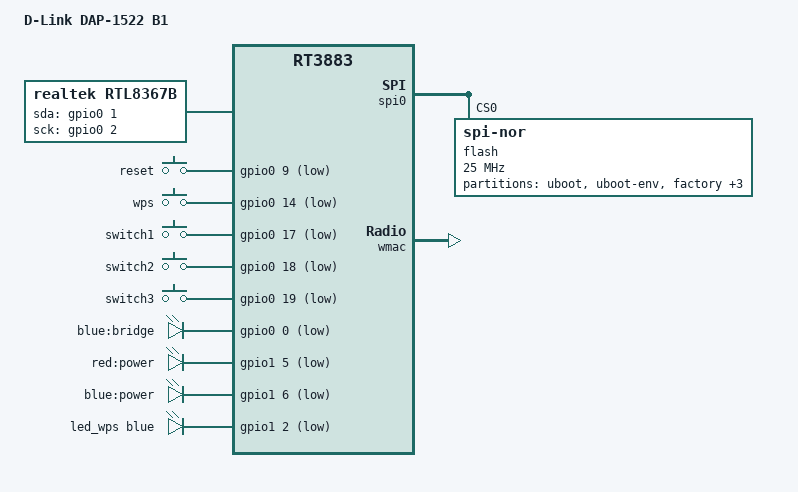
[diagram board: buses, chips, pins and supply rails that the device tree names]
#include "rt3883.dtsi"

#include <dt-bindings/gpio/gpio.h>
#include <dt-bindings/input/input.h>
#include <dt-bindings/leds/common.h>

/ {
	compatible = "dlink,dap-1522-b1", "ralink,rt3662-soc", "ralink,rt3883-soc";
	model = "D-Link DAP-1522 B1";

	aliases {
		led-boot = &led_wps;
		led-failsafe = &led_wps;
		led-running = &led_wps;
		led-upgrade = &led_wps;
	};

	rtl8367b {
		compatible = "realtek,rtl8367b";
		gpio-sda = <&gpio0 1 GPIO_ACTIVE_HIGH>;
		gpio-sck = <&gpio0 2 GPIO_ACTIVE_HIGH>;
		realtek,extif = <6 1 0 1 1 1 1 1 1 2>;
	};

	keys {
		compatible = "gpio-keys";

		reset {
			label = "reset";
			gpios = <&gpio0 9 GPIO_ACTIVE_LOW>;
			linux,code = <KEY_RESTART>;
		};

		wps {
			label = "wps";
			gpios = <&gpio0 14 GPIO_ACTIVE_LOW>;
			linux,code = <KEY_WPS_BUTTON>;
		};

		switch1 {
			label = "switch1";
			gpios = <&gpio0 17 GPIO_ACTIVE_LOW>;
			linux,code = <KEY_RESERVED>;
		};

		switch2 {
			label = "switch2";
			gpios = <&gpio0 18 GPIO_ACTIVE_LOW>;
			linux,code = <KEY_RESERVED>;
		};

		switch3 {
			label = "switch3";
			gpios = <&gpio0 19 GPIO_ACTIVE_LOW>;
			linux,code = <KEY_RESERVED>;
		};
	};

	leds {
		compatible = "gpio-leds";

		bridge {
			label = "blue:bridge";
			gpios = <&gpio0 0 GPIO_ACTIVE_LOW>;
		};

		red_power {
			label = "red:power";
			gpios = <&gpio1 5 GPIO_ACTIVE_LOW>;
		};

		blue_power {
			label = "blue:power";
			gpios = <&gpio1 6 GPIO_ACTIVE_LOW>;
		};

		led_wps: wps {
			function = LED_FUNCTION_WPS;
			color = <LED_COLOR_ID_BLUE>;
			gpios = <&gpio1 2 GPIO_ACTIVE_LOW>;
		};
	};
};

&gpio1 {
	status = "okay";
};

&spi0 {
	status = "okay";

	flash@0 {
		compatible = "jedec,spi-nor";
		reg = <0>;
		spi-max-frequency = <25000000>;

		partitions {
			compatible = "fixed-partitions";
			#address-cells = <1>;
			#size-cells = <1>;

			partition@0 {
				label = "uboot";
				reg = <0x0 0x30000>;
				read-only;
			};

			partition@30000 {
				label = "uboot-env";
				reg = <0x30000 0x4000>;
				read-only;
			};

			partition@34000 {
				label = "factory";
				reg = <0x34000 0x4000>;
				read-only;

				nvmem-layout {
					compatible = "fixed-layout";
					#address-cells = <1>;
					#size-cells = <1>;

					eeprom_factory_0: eeprom@0 {
						reg = <0x0 0x200>;
					};

					macaddr_factory_4: macaddr@4 {
						reg = <0x4 0x6>;
					};
				};
			};

			partition@38000 {
				label = "nvram";
				reg = <0x38000 0x8000>;
				read-only;
			};

			partition@40000 {
				label = "devdata";
				reg = <0x40000 0x10000>;
			};

			partition@50000 {
				compatible = "denx,uimage";
				reg = <0x00050000 0x007b0000>;
				label = "firmware";
			};
		};
	};
};

&state_default {
	gpio {
		groups = "i2c", "jtag", "uartf";
		function = "gpio";
	};
};

&ethernet {
	nvmem-cells = <&macaddr_factory_4>;
	nvmem-cell-names = "mac-address";

	port@0 {
		mediatek,fixed-link = <1000 1 1 0>;
	};
};

&wmac {
	nvmem-cells = <&eeprom_factory_0>;
	nvmem-cell-names = "eeprom";
};
